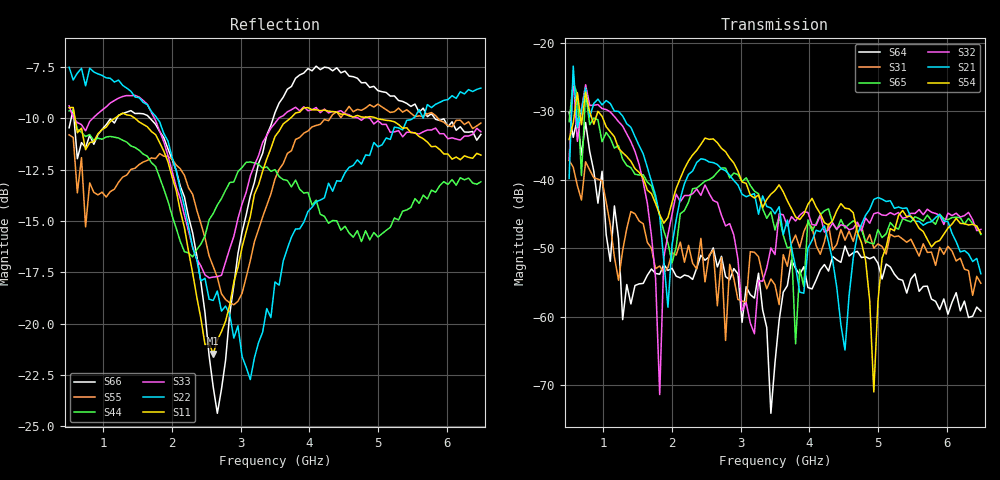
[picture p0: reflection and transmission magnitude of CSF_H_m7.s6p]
!Keysight Technologies,M9804A,MY58100912,A.14.10.03
!Date: Thursday, April 27, 2023 10:28:33
!Correction: S11(C  6-Port  )
!S12(C  6-Port  )
!S13(C  6-Port  )
!S14(C  6-Port  )
!S15(C  6-Port  )
!S16(C  6-Port  )
!S21(C  6-Port  )
!S22(C  6-Port  )
!S23(C  6-Port  )
!S24(C  6-Port  )
!S25(C  6-Port  )
!S26(C  6-Port  )
!S31(C  6-Port  )
!S32(C  6-Port  )
!S33(C  6-Port  )
!S34(C  6-Port  )
!S35(C  6-Port  )
!S36(C  6-Port  )
!S41(C  6-Port  )
!S42(C  6-Port  )
!S43(C  6-Port  )
!S44(C  6-Port  )
!S45(C  6-Port  )
!S46(C  6-Port  )
!S51(C  6-Port  )
!S52(C  6-Port  )
!S53(C  6-Port  )
!S54(C  6-Port  )
!S55(C  6-Port  )
!S56(C  6-Port  )
!S61(C  6-Port  )
!S62(C  6-Port  )
!S63(C  6-Port  )
!S64(C  6-Port  )
!S65(C  6-Port  )
!S66(C  6-Port  )
!S6P File: Measurement: :
# Hz S  RI  R 50
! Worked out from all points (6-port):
!   101 points, 500 MHz to 6.5 GHz, reference 50 ohm
!   strongest paths, dB at 500 MHz, 2 GHz, 3.5 GHz, 5 GHz, 6.5 GHz:
!     S54: -34.1, -43.3, -41.6, -57.8, -47.9
!     S21: -39.8, -49.5, -45.0, -42.6, -53.7
!     S32: -37.1, -45.1, -50.9, -44.8, -47.3
!     S65: -31.5, -52.2, -47.3, -47.3, -48.0
!     S31: -37.2, -50.6, -55.4, -49.4, -55.1
!     S64: -30.2, -52.9, -66.7, -52.2, -59.2
!   lowest |S11| = -21.5 dB at 2.6 GHz (marker M1), VSWR 1.18, Z = 42.5 + j2.03 ohm
!   |S11| at or under -10 dB: 585.9 MHz to 1.162 GHz (576.3 MHz wide, 65.9 % of centre); 1.462 GHz to 3.72 GHz (2.258 GHz wide, 87.2 % of centre); 4.984 GHz to end of sweep
